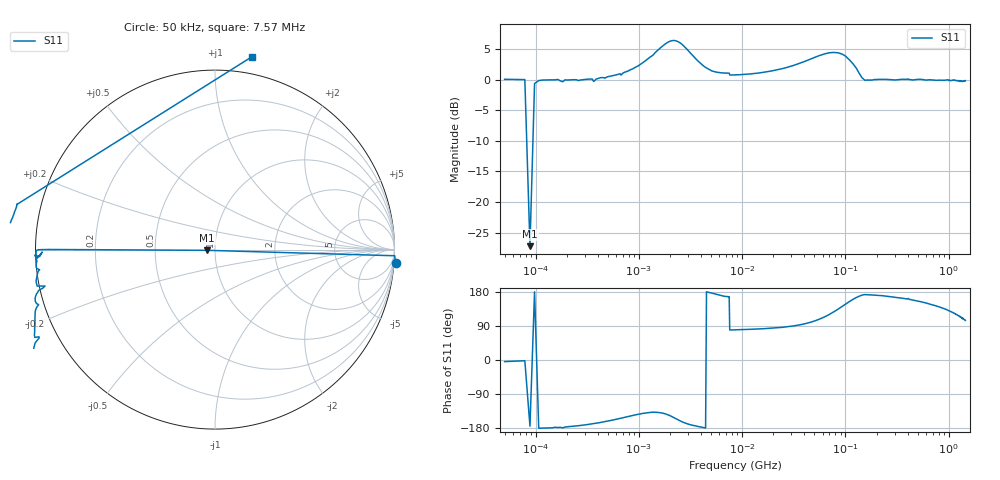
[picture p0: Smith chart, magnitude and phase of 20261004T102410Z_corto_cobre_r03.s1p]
! piloto_corto / corto_cobre / r03
# HZ S RI R 50
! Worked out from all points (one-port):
!   501 points, 50 kHz to 1.45 GHz, reference 50 ohm
!   lowest |S11| = -27.2 dB at 88 kHz (marker M1), VSWR 1.09, Z = 45.8 - j0.367 ohm
!   |S11| at or under -10 dB: 81.99 kHz to 94.15 kHz (12.16 kHz wide, 13.8 % of centre)
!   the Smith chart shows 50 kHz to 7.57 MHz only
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50000  1.006 -0.074
59500  1.005 -0.0595
69000  1.002 -0.0459
88000  -0.0433 -0.00399
107000  -0.9844 -0.000741
116500  -0.9936 -0.00415
183000  -0.9626 -0.0137
658000  -1.004 -0.4894
1180000  -1.103 -0.9395
1720000  -1.474 -1.209
1990000  -1.722 -1.132
2440000  -1.894 -0.7252
3340000  -1.552 -0.2024
4690000  -1.223 0.024
7300000  -1.103 0.253
7750000  0.2043 1.074
8560000  0.1967 1.079
3.16e7  -1.2e-05 1.31
4.69e7  -0.2674 1.463
6.76e7  -0.7809 1.455
9.46e7  -1.281 0.969
1e8  -1.314 0.8419
1.18e8  -1.271 0.4631
1.36e8  -1.103 0.2267
1.63e8  -0.9845 0.1332
4.06e8  -0.967 0.3075
9.55e8  -0.6769 0.7292
1.45e9  -0.2454 0.9497
